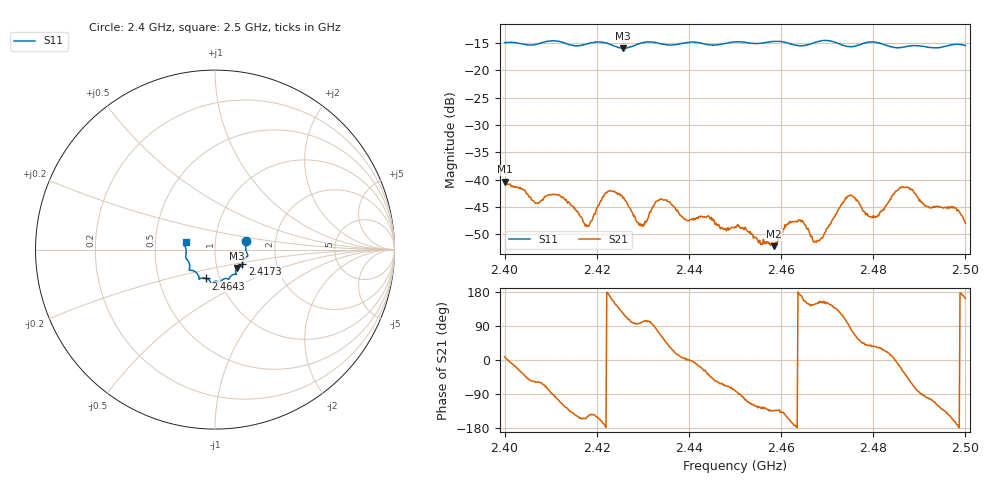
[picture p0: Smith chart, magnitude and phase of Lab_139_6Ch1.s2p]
# Hz S RI R 50
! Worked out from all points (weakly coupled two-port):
!   601 points, 2.4 GHz to 2.5 GHz, reference 50 ohm
!   highest |S21| = -40.39 dB at 2.4 GHz (marker M1); lowest = -52.2 dB at 2.4585 GHz (marker M2)
!   lowest |S11| = -15.9 dB at 2.4257 GHz (marker M3), VSWR 1.38, Z = 62.5 - j13.1 ohm
!   |S11| at or under -10 dB: start of sweep to end of sweep
!   S12 and S22 are empty: the file has one direction only
!   S11 on the Smith chart (normalised r, x): 2.4 GHz: 1.41, +0.14; 2.4173 GHz: 1.34, -0.23; 2.4643 GHz: 0.86, -0.28; 2.5 GHz: 0.72, +0.06
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2.4e9  0.1728 0.0489  0.00946 0.00137  0 0  0 0
2.407e9  0.1737 -0.0102  0.00319 -0.00519  0 0  0 0
2.411667e9  0.1816 -0.037  -0.00194 -0.00695  0 0  0 0
2.416667e9  0.1526 -0.0743  -0.00411 -0.00193  0 0  0 0
2.417333e9  0.1519 -0.0817  -0.00356 -0.00174  0 0  0 0
2.4185e9  0.1524 -0.0921  -0.00326 -0.00227  0 0  0 0
2.422333e9  0.1498 -0.0947  -0.00774 0.000341  0 0  0 0
2.425667e9  0.1227 -0.1021  -0.00377 0.00564  0 0  0 0
2.429667e9  0.1167 -0.135  -0.000589 0.00387  0 0  0 0
2.433333e9  0.113 -0.1374  0.00168 0.00623  0 0  0 0
2.4395e9  0.0794 -0.1617  0.00425 0.000209  0 0  0 0
2.45e9  0.0289 -0.1809  0.000587 -0.00366  0 0  0 0
2.4585e9  -0.0209 -0.1836  -0.0017 -0.00177  0 0  0 0
2.461333e9  -0.0276 -0.1766  -0.0034 -0.00189  0 0  0 0
2.464333e9  -0.05 -0.1607  -0.00406 0.000711  0 0  0 0
2.466667e9  -0.0759 -0.1593  -0.00248 0.00176  0 0  0 0
2.468667e9  -0.0873 -0.1653  -0.00256 0.00136  0 0  0 0
2.474833e9  -0.1046 -0.128  0.000159 0.00711  0 0  0 0
2.479333e9  -0.1423 -0.1144  0.00355 0.0029  0 0  0 0
2.483333e9  -0.141 -0.0899  0.00598 0.002  0 0  0 0
2.487333e9  -0.1572 -0.0537  0.00611 -0.00598  0 0  0 0
2.5e9  -0.164 0.0427  -0.00379 0.00123  0 0  0 0
